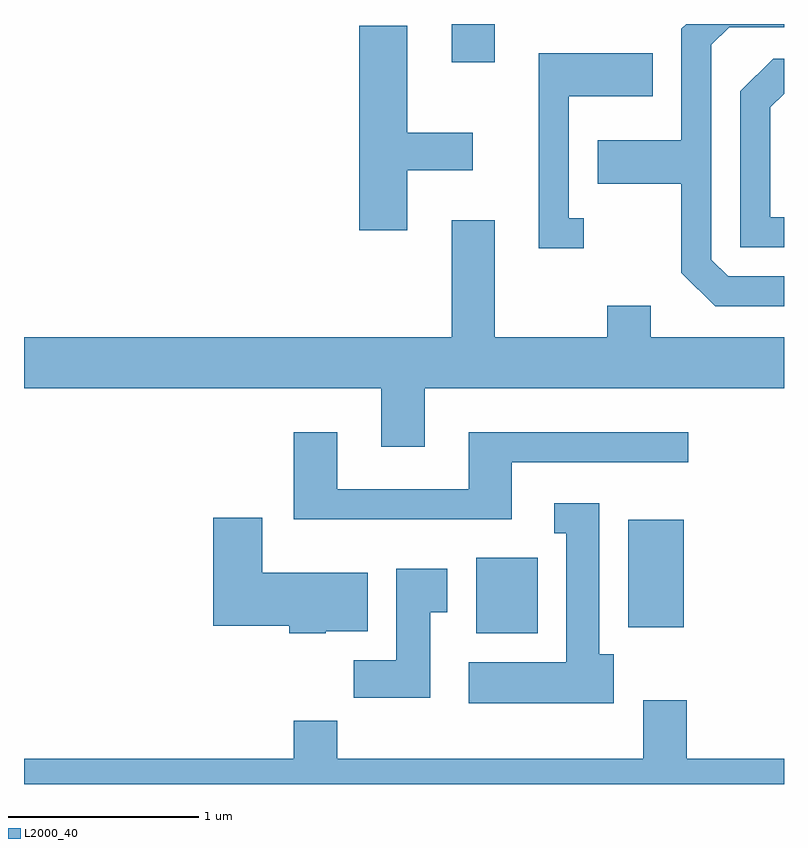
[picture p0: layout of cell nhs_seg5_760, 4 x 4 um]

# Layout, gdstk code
import gdstk
lib = gdstk.Library(unit=1e-6, precision=1e-09)
def R(c, l, rs):  # rectangles x0, y0, x1, y1
    for r in rs: c.add(gdstk.rectangle(r[:2], r[2:], *l))
def P(c, l, *ps):  # polygons
    for p in ps: c.add(gdstk.Polygon(p, *l))
L2000_40 = (2000, 40)

nhs_seg5_760 = lib.new_cell('nhs_seg5_760')
R(nhs_seg5_760, L2000_40, [(209.991,1428.866,210.314,1429.264), (210.791,1428.896,211.084,1429.464), (209.861,1431.871,210.089,1432.072)])
P(nhs_seg5_760, L2000_40, [(211.611,1430.744),(211.317,1430.744),(211.229,1430.832),(211.229,1431.964),(211.322,1432.056),(211.611,1432.056),(211.611,1432.072),(211.096,1432.072),(211.071,1432.047),(211.071,1431.459),(210.631,1431.459),(210.631,1431.231),(211.071,1431.231),(211.071,1430.764),(211.249,1430.586),(211.611,1430.586)],
  [(209.629,1431.301),(209.974,1431.301),(209.974,1431.499),(209.629,1431.499),(209.629,1432.064),(209.376,1432.064),(209.376,1430.986),(209.629,1430.986)],
  [(210.558,1431.049),(210.479,1431.049),(210.479,1431.691),(210.919,1431.691),(210.919,1431.919),(210.321,1431.919),(210.321,1430.891),(210.558,1430.891)],
  [(211.611,1431.054),(211.539,1431.054),(211.539,1431.634),(211.611,1431.705),(211.611,1431.889),(211.554,1431.889),(211.381,1431.717),(211.381,1430.896),(211.611,1430.896)],
  [(209.719,1430.156),(211.611,1430.156),(211.611,1430.424),(210.909,1430.424),(210.909,1430.589),(210.681,1430.589),(210.681,1430.424),(210.089,1430.424),(210.089,1431.039),(209.861,1431.039),(209.861,1430.424),(207.611,1430.424),(207.611,1430.156),(209.491,1430.156),(209.491,1429.846),(209.719,1429.846)],
  [(210.179,1429.766),(211.108,1429.766),(211.108,1429.924),(209.951,1429.924),(209.951,1429.624),(209.259,1429.624),(209.259,1429.924),(209.031,1429.924),(209.031,1429.466),(210.179,1429.466)],
  [(210.714,1428.754),(210.639,1428.754),(210.639,1429.549),(210.403,1429.549),(210.403,1429.391),(210.466,1429.391),(210.466,1428.714),(209.951,1428.714),(209.951,1428.496),(210.714,1428.496)],
  [(209.2,1428.876),(209.419,1428.876),(209.419,1429.184),(208.864,1429.184),(208.864,1429.474),(208.606,1429.474),(208.606,1428.906),(209.006,1428.906),(209.006,1428.866),(209.2,1428.866)],
  [(209.749,1428.976),(209.839,1428.976),(209.839,1429.204),(209.571,1429.204),(209.571,1428.724),(209.346,1428.724),(209.346,1428.526),(209.749,1428.526)],
  [(211.611,1428.204),(211.099,1428.204),(211.099,1428.514),(210.871,1428.514),(210.871,1428.204),(209.259,1428.204),(209.259,1428.404),(209.031,1428.404),(209.031,1428.204),(207.611,1428.204),(207.611,1428.072),(211.611,1428.072)])

lib.write_gds('nhs_seg5_760.gds')
